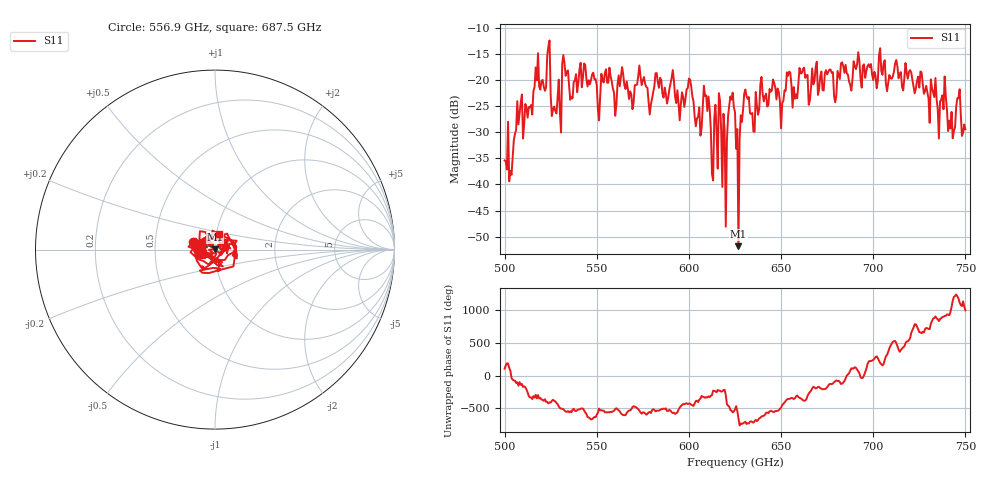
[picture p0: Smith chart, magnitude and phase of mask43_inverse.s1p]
!Created with skrf (http://scikit-rf.org).
# GHz S MA R 50.0
!freq magS11 angS11
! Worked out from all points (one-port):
!   401 points, 500 GHz to 750 GHz, reference 50 ohm
!   lowest |S11| = -51.8 dB at 626.9 GHz (marker M1), VSWR 1.01, Z = 50.1 + j0.245 ohm
!   |S11| at or under -10 dB: start of sweep to end of sweep
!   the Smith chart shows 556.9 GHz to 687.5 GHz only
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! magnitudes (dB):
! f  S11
! 500 GHz  -35.4
! 503.8 GHz  -38.1
! 508.1 GHz  -26.4
! 513.8 GHz  -25.2
! 516.9 GHz  -17.6
! 523.8 GHz  -13.6
! 526.9 GHz  -25.1
! 531.2 GHz  -17.0
! 562.5 GHz  -21.2
! 593.8 GHz  -22.0
! 600 GHz  -19.7
! 605.6 GHz  -25.3
! 609.4 GHz  -23.0
! 612.5 GHz  -37.9
! 615.6 GHz  -37.0
! 619.4 GHz  -29.7
! 622.5 GHz  -23.2
! 625 GHz  -26.2
! 626.9 GHz  -51.8
! 631.2 GHz  -23.1
! 634.4 GHz  -26.3
! 640 GHz  -22.7
! 656.2 GHz  -25.3
! 687.5 GHz  -21.0
! 718.8 GHz  -19.8
! 743.1 GHz  -31.2
! 746.2 GHz  -23.5
! 750 GHz  -29.4
